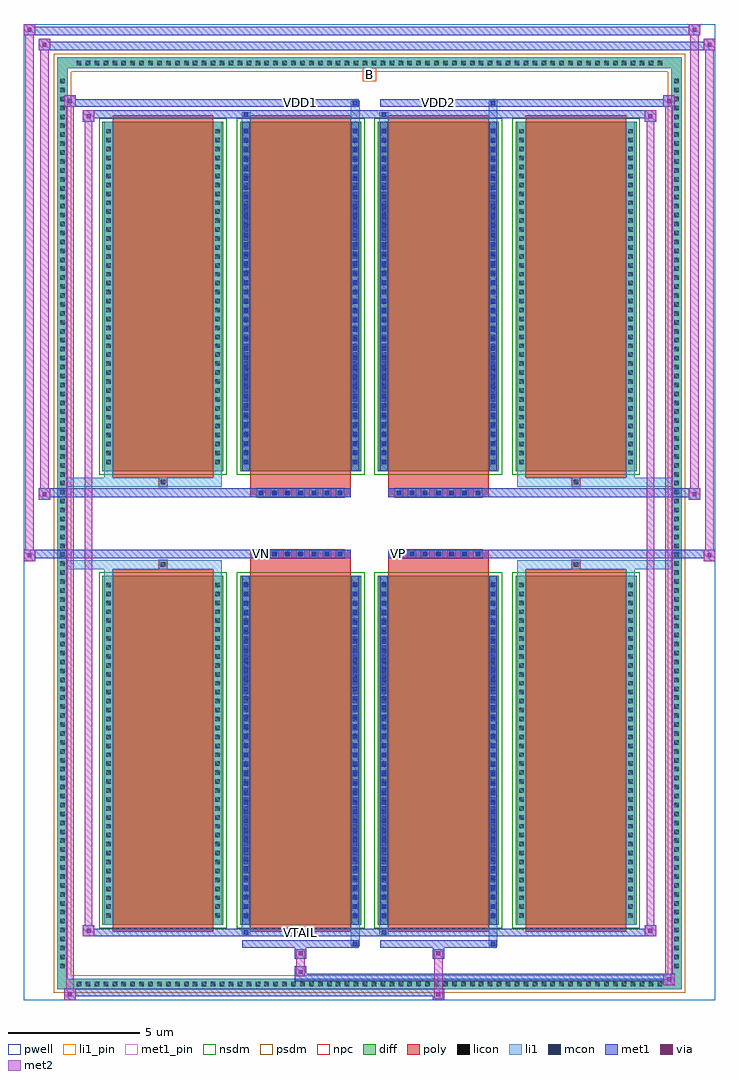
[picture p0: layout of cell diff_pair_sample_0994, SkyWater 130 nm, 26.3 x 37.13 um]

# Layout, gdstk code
import gdstk
lib = gdstk.Library(unit=1e-6, precision=5e-09)
def R(c, l, rs):  # rectangles x0, y0, x1, y1
    for r in rs: c.add(gdstk.rectangle(r[:2], r[2:], *l))
def A(c, l, x, y, w, h, nx, ny, dx, dy):  # array of equal rectangles
    R(c, l, [(x+i*dx, y+j*dy, x+i*dx+w, y+j*dy+h) for i in range(nx) for j in range(ny)])
def P(c, l, *ps):  # polygons
    for p in ps: c.add(gdstk.Polygon(p, *l))
pwell = (64, 44)
diff = (65, 20)
poly = (66, 20)
licon = (66, 44)
li1_pin = (67, 16)
li1 = (67, 20)
mcon = (67, 44)
met1_pin = (68, 16)
met1 = (68, 20)
via = (68, 44)
met2 = (69, 20)
nsdm = (93, 44)
psdm = (94, 20)
npc = (95, 20)

diff_pair_sample_0994 = lib.new_cell('diff_pair_sample_0994')
R(diff_pair_sample_0994, pwell, [(-13.15,-18.13,13.15,19), (-10.47,-16.32,-0.01,-0.8), (0.01,-16.32,10.47,-0.8), (-10.47,0.8,-0.01,16.32), (0.01,0.8,10.47,16.32)])
A(diff_pair_sample_0994, diff, -11.255, -17.73, 0.41, 0.41, 66, 2, 0.34, 35.05)
A(diff_pair_sample_0994, diff, -11.88, -17.035, 0.41, 0.41, 1, 100, 0, 0.34)
A(diff_pair_sample_0994, diff, 11.47, -17.035, 0.41, 0.41, 1, 100, 0, 0.34)
A(diff_pair_sample_0994, diff, -10.16, -15.275, 4.6, 13.29, 4, 2, 5.24, 17.26)
R(diff_pair_sample_0994, diff, [(-11.255,-17.73,11.255,-17.32), (-11.88,-17.035,-11.47,17.035), (11.47,-17.035,11.88,17.035), (-11.255,17.32,11.255,17.73)])
P(diff_pair_sample_0994, diff, [(11.88,17.73),(-11.88,17.73),(-11.88,-17.32),(-11.47,-17.32),(-11.47,17.32),(11.47,17.32),(11.47,-17.32),(-11.47,-17.32),(-11.88,-17.32),(-11.88,-17.73),(11.88,-17.73)])
A(diff_pair_sample_0994, poly, -9.77, -15.525, 3.82, 13.79, 4, 2, 5.24, 17.26)
A(diff_pair_sample_0994, poly, -4.285, -1.33, 0.33, 0.33, 7, 2, 0.5, 2.33)
A(diff_pair_sample_0994, poly, 0.955, -1.33, 0.33, 0.33, 7, 2, 0.5, 2.33)
R(diff_pair_sample_0994, poly, [(-8.025,-1.735,-7.695,-1.405), (-8.025,-1.735,-7.695,-1.405), (-4.53,-1.735,-0.71,-1.33), (0.71,-1.735,4.53,-1.33), (7.695,-1.735,8.025,-1.405), (7.695,-1.735,8.025,-1.405), (-4.53,-1.33,-0.71,-1), (0.71,-1.33,4.53,-1), (-4.53,1,-0.71,1.33), (0.71,1,4.53,1.33), (-4.53,1.33,-0.71,1.735), (0.71,1.33,4.53,1.735), (-8.025,1.405,-7.695,1.735), (-8.025,1.405,-7.695,1.735), (7.695,1.405,8.025,1.735), (7.695,1.405,8.025,1.735)])
A(diff_pair_sample_0994, licon, -11.135, -17.61, 0.17, 0.17, 66, 2, 0.34, 35.05)
A(diff_pair_sample_0994, licon, -11.76, -16.915, 0.17, 0.17, 1, 100, 0, 0.34)
A(diff_pair_sample_0994, licon, 11.59, -16.915, 0.17, 0.17, 1, 100, 0, 0.34)
A(diff_pair_sample_0994, licon, -10.02, -15.005, 0.17, 0.17, 1, 38, 0, 0.34)
A(diff_pair_sample_0994, licon, -5.87, -15.005, 0.17, 0.17, 1, 38, 0, 0.34)
A(diff_pair_sample_0994, licon, -4.78, -15.005, 0.17, 0.17, 1, 38, 0, 0.34)
A(diff_pair_sample_0994, licon, -0.63, -15.005, 0.17, 0.17, 1, 38, 0, 0.34)
A(diff_pair_sample_0994, licon, 0.46, -15.005, 0.17, 0.17, 1, 38, 0, 0.34)
A(diff_pair_sample_0994, licon, 4.61, -15.005, 0.17, 0.17, 1, 38, 0, 0.34)
A(diff_pair_sample_0994, licon, 5.7, -15.005, 0.17, 0.17, 1, 38, 0, 0.34)
A(diff_pair_sample_0994, licon, 9.85, -15.005, 0.17, 0.17, 1, 38, 0, 0.34)
A(diff_pair_sample_0994, licon, -4.205, -1.25, 0.17, 0.17, 7, 2, 0.5, 2.33)
A(diff_pair_sample_0994, licon, 1.035, -1.25, 0.17, 0.17, 7, 2, 0.5, 2.33)
A(diff_pair_sample_0994, licon, -10.02, 2.255, 0.17, 0.17, 1, 38, 0, 0.34)
A(diff_pair_sample_0994, licon, -5.87, 2.255, 0.17, 0.17, 1, 38, 0, 0.34)
A(diff_pair_sample_0994, licon, -4.78, 2.255, 0.17, 0.17, 1, 38, 0, 0.34)
A(diff_pair_sample_0994, licon, -0.63, 2.255, 0.17, 0.17, 1, 38, 0, 0.34)
A(diff_pair_sample_0994, licon, 0.46, 2.255, 0.17, 0.17, 1, 38, 0, 0.34)
A(diff_pair_sample_0994, licon, 4.61, 2.255, 0.17, 0.17, 1, 38, 0, 0.34)
A(diff_pair_sample_0994, licon, 5.7, 2.255, 0.17, 0.17, 1, 38, 0, 0.34)
A(diff_pair_sample_0994, licon, 9.85, 2.255, 0.17, 0.17, 1, 38, 0, 0.34)
R(diff_pair_sample_0994, licon, [(-7.945,-1.655,-7.775,-1.485), (7.775,-1.655,7.945,-1.485), (-7.945,1.485,-7.775,1.655), (7.775,1.485,7.945,1.655)])
R(diff_pair_sample_0994, li1_pin, [(-0.25,16.82,0.25,17.32)])
A(diff_pair_sample_0994, li1, -11.215, -17.69, 0.33, 0.33, 66, 2, 0.34, 35.05)
A(diff_pair_sample_0994, li1, -11.84, -16.995, 0.33, 0.33, 1, 100, 0, 0.34)
A(diff_pair_sample_0994, li1, 11.51, -16.995, 0.33, 0.33, 1, 100, 0, 0.34)
A(diff_pair_sample_0994, li1, -10.1, -15.085, 0.33, 0.33, 1, 38, 0, 0.34)
A(diff_pair_sample_0994, li1, -5.95, -15.085, 0.33, 0.33, 1, 38, 0, 0.34)
A(diff_pair_sample_0994, li1, -4.86, -15.085, 0.33, 0.33, 1, 38, 0, 0.34)
A(diff_pair_sample_0994, li1, -0.71, -15.085, 0.33, 0.33, 1, 38, 0, 0.34)
A(diff_pair_sample_0994, li1, 0.38, -15.085, 0.33, 0.33, 1, 38, 0, 0.34)
A(diff_pair_sample_0994, li1, 4.53, -15.085, 0.33, 0.33, 1, 38, 0, 0.34)
A(diff_pair_sample_0994, li1, 5.62, -15.085, 0.33, 0.33, 1, 38, 0, 0.34)
A(diff_pair_sample_0994, li1, 9.77, -15.085, 0.33, 0.33, 1, 38, 0, 0.34)
A(diff_pair_sample_0994, li1, -4.78, -15.015, 0.17, 0.17, 1, 36, 0, 0.36)
A(diff_pair_sample_0994, li1, -0.63, -15.015, 0.17, 0.17, 1, 36, 0, 0.36)
A(diff_pair_sample_0994, li1, 0.46, -15.015, 0.17, 0.17, 1, 36, 0, 0.36)
A(diff_pair_sample_0994, li1, 4.61, -15.015, 0.17, 0.17, 1, 36, 0, 0.36)
A(diff_pair_sample_0994, li1, -4.285, -1.33, 0.33, 0.33, 7, 2, 0.5, 2.33)
A(diff_pair_sample_0994, li1, 0.955, -1.33, 0.33, 0.33, 7, 2, 0.5, 2.33)
A(diff_pair_sample_0994, li1, -10.1, 2.175, 0.33, 0.33, 1, 38, 0, 0.34)
A(diff_pair_sample_0994, li1, -5.95, 2.175, 0.33, 0.33, 1, 38, 0, 0.34)
A(diff_pair_sample_0994, li1, -4.86, 2.175, 0.33, 0.33, 1, 38, 0, 0.34)
A(diff_pair_sample_0994, li1, -0.71, 2.175, 0.33, 0.33, 1, 38, 0, 0.34)
A(diff_pair_sample_0994, li1, 0.38, 2.175, 0.33, 0.33, 1, 38, 0, 0.34)
A(diff_pair_sample_0994, li1, 4.53, 2.175, 0.33, 0.33, 1, 38, 0, 0.34)
A(diff_pair_sample_0994, li1, 5.62, 2.175, 0.33, 0.33, 1, 38, 0, 0.34)
A(diff_pair_sample_0994, li1, 9.77, 2.175, 0.33, 0.33, 1, 38, 0, 0.34)
A(diff_pair_sample_0994, li1, -4.78, 2.245, 0.17, 0.17, 1, 36, 0, 0.36)
A(diff_pair_sample_0994, li1, -0.63, 2.245, 0.17, 0.17, 1, 36, 0, 0.36)
A(diff_pair_sample_0994, li1, 0.46, 2.245, 0.17, 0.17, 1, 36, 0, 0.36)
A(diff_pair_sample_0994, li1, 4.61, 2.245, 0.17, 0.17, 1, 36, 0, 0.36)
R(diff_pair_sample_0994, li1, [(-11.88,-17.73,-11.47,-17.32), (-11.88,-17.73,-11.47,-17.32), (-11.47,-17.73,11.47,-17.32), (11.47,-17.73,11.88,-17.32), (11.47,-17.73,11.88,-17.32), (-11.88,-17.32,-11.47,17.32), (11.47,-17.32,11.88,17.32), (-0.71,-16.08,-0.38,-15.275), (-0.63,-16.08,-0.46,-15.91), (4.53,-16.08,4.86,-15.275), (4.61,-16.08,4.78,-15.91), (-4.86,-15.65,-4.53,-15.275), (-4.78,-15.65,-4.61,-15.48), (0.38,-15.65,0.71,-15.275), (0.46,-15.65,0.63,-15.48), (-10.1,-15.275,-9.77,-1.985), (-5.95,-15.275,-5.62,-1.985), (-4.86,-15.275,-4.53,-1.985), (-0.71,-15.275,-0.38,-1.985), (0.38,-15.275,0.71,-1.985), (4.53,-15.275,4.86,-1.985), (5.62,-15.275,5.95,-1.985), (9.77,-15.275,10.1,-1.985), (-4.78,-15.015,-4.61,-2.245), (-0.63,-15.015,-0.46,-2.245), (0.46,-15.015,0.63,-2.245), (4.61,-15.015,4.78,-2.245), (-10.1,-1.985,-9.77,-1.405), (-5.95,-1.985,-5.62,-1.405), (5.62,-1.985,5.95,-1.405), (9.77,-1.985,10.1,-1.405), (-11.88,-1.735,-8.025,-1.405), (-10.1,-1.735,-8.025,-1.405), (-8.025,-1.735,-7.695,-1.405), (-7.695,-1.735,-5.62,-1.405), (5.62,-1.735,7.695,-1.405), (7.695,-1.735,8.025,-1.405), (7.695,-1.735,11.88,-1.405), (8.025,-1.735,10.1,-1.405), (-11.88,1.405,-8.025,1.735), (-10.1,1.405,-8.025,1.735), (-10.1,1.405,-9.77,1.985), (-8.025,1.405,-7.695,1.735), (-7.695,1.405,-5.62,1.735), (-5.95,1.405,-5.62,1.985), (5.62,1.405,7.695,1.735), (5.62,1.405,5.95,1.985), (7.695,1.405,8.025,1.735), (7.695,1.405,11.88,1.735), (8.025,1.405,10.1,1.735), (9.77,1.405,10.1,1.985), (-10.1,1.985,-9.77,15.275), (-5.95,1.985,-5.62,15.275), (-4.86,1.985,-4.53,15.275), (-0.71,1.985,-0.38,15.275), (0.38,1.985,0.71,15.275), (4.53,1.985,4.86,15.275), (5.62,1.985,5.95,15.275), (9.77,1.985,10.1,15.275), (-4.78,2.245,-4.61,15.015), (-0.63,2.245,-0.46,15.015), (0.46,2.245,0.63,15.015), (4.61,2.245,4.78,15.015), (-4.86,15.275,-4.53,15.65), (-0.71,15.275,-0.38,16.08), (0.38,15.275,0.71,15.65), (4.53,15.275,4.86,16.08), (-4.78,15.48,-4.61,15.65), (0.46,15.48,0.63,15.65), (-0.63,15.91,-0.46,16.08), (4.61,15.91,4.78,16.08), (-11.88,17.32,-11.47,17.73), (-11.88,17.32,-11.47,17.73), (-11.47,17.32,11.47,17.73), (11.47,17.32,11.88,17.73), (11.47,17.32,11.88,17.73)])
A(diff_pair_sample_0994, mcon, -4.78, -15.015, 0.17, 0.17, 1, 36, 0, 0.36)
A(diff_pair_sample_0994, mcon, -0.63, -15.015, 0.17, 0.17, 1, 36, 0, 0.36)
A(diff_pair_sample_0994, mcon, 0.46, -15.015, 0.17, 0.17, 1, 36, 0, 0.36)
A(diff_pair_sample_0994, mcon, 4.61, -15.015, 0.17, 0.17, 1, 36, 0, 0.36)
A(diff_pair_sample_0994, mcon, -4.205, -1.25, 0.17, 0.17, 7, 2, 0.5, 2.33)
A(diff_pair_sample_0994, mcon, 1.035, -1.25, 0.17, 0.17, 7, 2, 0.5, 2.33)
A(diff_pair_sample_0994, mcon, -4.78, 2.245, 0.17, 0.17, 1, 36, 0, 0.36)
A(diff_pair_sample_0994, mcon, -0.63, 2.245, 0.17, 0.17, 1, 36, 0, 0.36)
A(diff_pair_sample_0994, mcon, 0.46, 2.245, 0.17, 0.17, 1, 36, 0, 0.36)
A(diff_pair_sample_0994, mcon, 4.61, 2.245, 0.17, 0.17, 1, 36, 0, 0.36)
R(diff_pair_sample_0994, mcon, [(-0.63,-16.08,-0.46,-15.91), (4.61,-16.08,4.78,-15.91), (-4.78,-15.65,-4.61,-15.48), (0.46,-15.65,0.63,-15.48), (-4.78,15.48,-4.61,15.65), (0.46,15.48,0.63,15.65), (-0.63,15.91,-0.46,16.08), (4.61,15.91,4.78,16.08)])
R(diff_pair_sample_0994, met1_pin, [(-2.755,-15.69,-2.485,-15.42), (-4.255,-1.29,-3.985,-1.02), (0.985,-1.29,1.255,-1.02), (-2.755,15.87,-2.485,16.14), (2.485,15.87,2.755,16.14)])
A(diff_pair_sample_0994, met1, -4.84, -15.075, 0.29, 0.29, 1, 36, 0, 0.36)
A(diff_pair_sample_0994, met1, -0.69, -15.075, 0.29, 0.29, 1, 36, 0, 0.36)
A(diff_pair_sample_0994, met1, 0.4, -15.075, 0.29, 0.29, 1, 36, 0, 0.36)
A(diff_pair_sample_0994, met1, 4.55, -15.075, 0.29, 0.29, 1, 36, 0, 0.36)
A(diff_pair_sample_0994, met1, -4.265, -1.31, 0.29, 0.29, 7, 2, 0.5, 2.33)
A(diff_pair_sample_0994, met1, 0.975, -1.31, 0.29, 0.29, 7, 2, 0.5, 2.33)
A(diff_pair_sample_0994, met1, -4.84, 2.185, 0.29, 0.29, 1, 36, 0, 0.36)
A(diff_pair_sample_0994, met1, -0.69, 2.185, 0.29, 0.29, 1, 36, 0, 0.36)
A(diff_pair_sample_0994, met1, 0.4, 2.185, 0.29, 0.29, 1, 36, 0, 0.36)
A(diff_pair_sample_0994, met1, 4.55, 2.185, 0.29, 0.29, 1, 36, 0, 0.36)
R(diff_pair_sample_0994, met1, [(-11.61,-18.13,-11.18,-17.7), (2.405,-18.13,2.835,-17.7), (-11.61,-17.99,2.835,-17.7), (11.18,-17.56,11.61,-17.13), (-2.835,-17.42,11.61,-17.13), (-2.835,-17.28,-2.405,-16.85), (-2.835,-16.57,-2.405,-16.14), (2.405,-16.57,2.835,-16.14), (-4.84,-16.14,-0.4,-15.85), (-0.69,-16.14,-0.4,-15.85), (0.4,-16.14,4.84,-15.85), (4.55,-16.14,4.84,-15.85), (-10.9,-15.71,-10.47,-15.28), (-10.9,-15.71,-4.84,-15.42), (-4.84,-15.71,-4.55,-15.42), (-4.84,-15.71,-0.4,-15.42), (-0.4,-15.71,0.4,-15.42), (0.4,-15.71,0.69,-15.42), (0.4,-15.71,4.84,-15.42), (4.84,-15.71,10.9,-15.42), (10.47,-15.71,10.9,-15.28), (-4.84,-15.275,-4.55,-1.985), (-0.69,-15.275,-0.4,-1.985), (0.4,-15.275,0.69,-1.985), (4.55,-15.275,4.84,-1.985), (-13.15,-1.43,-12.72,-1), (12.72,-1.43,13.15,-1), (-13.15,-1.33,-0.71,-1), (-4.53,-1.33,-0.71,-1), (0.71,-1.33,4.53,-1), (0.71,-1.33,13.15,-1), (-12.58,0.9,-12.15,1.33), (12.15,0.9,12.58,1.33), (-12.58,1,-4.53,1.33), (-4.53,1,-0.71,1.33), (0.71,1,4.53,1.33), (4.53,1,12.58,1.33), (-4.84,1.985,-4.55,15.275), (-0.69,1.985,-0.4,15.275), (0.4,1.985,0.69,15.275), (4.55,1.985,4.84,15.275), (-10.9,15.28,-10.47,15.71), (10.47,15.28,10.9,15.71), (-10.9,15.42,-4.84,15.71), (-4.84,15.42,-4.55,15.71), (-4.84,15.42,-0.4,15.71), (-0.4,15.42,0.4,15.71), (0.4,15.42,0.69,15.71), (0.4,15.42,4.84,15.71), (4.84,15.42,10.9,15.71), (-11.61,15.85,-11.18,16.28), (-11.61,15.85,-4.84,16.14), (-4.84,15.85,-0.4,16.14), (-0.69,15.85,-0.4,16.14), (0.4,15.85,4.84,16.14), (4.55,15.85,4.84,16.14), (4.84,15.85,11.61,16.14), (11.18,15.85,11.61,16.28), (-12.58,18,-12.15,18.43), (-12.58,18,-10.47,18.33), (-10.47,18,10.47,18.33), (10.47,18,13.15,18.33), (12.72,18,13.15,18.43), (-13.15,18.57,-12.72,19), (-13.15,18.57,-10.47,18.9), (-10.47,18.57,10.47,18.9), (10.47,18.57,12.58,18.9), (12.15,18.57,12.58,19)])
R(diff_pair_sample_0994, via, [(-11.47,-17.99,-11.32,-17.84), (2.545,-17.99,2.695,-17.84), (11.32,-17.42,11.47,-17.27), (-2.695,-17.14,-2.545,-16.99), (-2.695,-16.43,-2.545,-16.28), (2.545,-16.43,2.695,-16.28), (-10.76,-15.57,-10.61,-15.42), (10.61,-15.57,10.76,-15.42), (-13.01,-1.29,-12.86,-1.14), (12.86,-1.29,13.01,-1.14), (-12.44,1.04,-12.29,1.19), (12.29,1.04,12.44,1.19), (-10.76,15.42,-10.61,15.57), (10.61,15.42,10.76,15.57), (-11.47,15.99,-11.32,16.14), (11.32,15.99,11.47,16.14), (-12.44,18.14,-12.29,18.29), (12.86,18.14,13.01,18.29), (-13.01,18.71,-12.86,18.86), (12.29,18.71,12.44,18.86)])
R(diff_pair_sample_0994, met2, [(-11.61,-18.13,-11.18,-17.7), (-11.54,-18.13,-11.25,16.28), (-11.25,-18.13,-11.18,-17.7), (-11.56,-18.08,-11.23,-17.75), (2.455,-18.08,2.785,-17.75), (2.455,-17.75,2.785,-16.52), (11.18,-17.56,11.61,-17.13), (11.25,-17.56,11.54,16.28), (11.54,-17.56,11.61,-17.13), (11.23,-17.51,11.56,-17.18), (-2.785,-17.23,-2.455,-16.9), (-2.785,-16.9,-2.455,-16.52), (-2.785,-16.52,-2.455,-16.19), (2.455,-16.52,2.785,-16.19), (-10.9,-15.71,-10.47,-15.28), (-10.83,-15.71,-10.54,15.71), (-10.54,-15.71,-10.47,-15.28), (10.47,-15.71,10.9,-15.28), (10.54,-15.71,10.83,15.71), (10.83,-15.71,10.9,-15.28), (-10.85,-15.66,-10.52,-15.33), (10.52,-15.66,10.85,-15.33), (-13.15,-1.43,-12.72,-1), (-13.1,-1.43,-12.77,19), (-12.77,-1.43,-12.72,-1), (12.72,-1.43,13.15,-1), (12.77,-1.43,13.1,18.43), (13.1,-1.43,13.15,-1), (-13.1,-1.38,-12.77,-1.05), (12.77,-1.38,13.1,-1.05), (-12.58,0.9,-12.15,1.33), (-12.53,0.9,-12.2,18.43), (-12.2,0.9,-12.15,1.33), (12.15,0.9,12.58,1.33), (12.2,0.9,12.53,19), (12.53,0.9,12.58,1.33), (-12.53,0.95,-12.2,1.28), (12.2,0.95,12.53,1.28), (-10.9,15.28,-10.47,15.71), (-10.54,15.28,-10.47,15.71), (10.47,15.28,10.9,15.71), (10.83,15.28,10.9,15.71), (-10.85,15.33,-10.52,15.66), (10.52,15.33,10.85,15.66), (-11.61,15.85,-11.18,16.28), (-11.25,15.85,-11.18,16.28), (11.18,15.85,11.61,16.28), (11.54,15.85,11.61,16.28), (-11.56,15.9,-11.23,16.23), (11.23,15.9,11.56,16.23), (-12.58,18,-12.15,18.43), (-12.2,18,-12.15,18.43), (12.72,18,13.15,18.43), (13.1,18,13.15,18.43), (-12.53,18.05,-12.2,18.38), (12.77,18.05,13.1,18.38), (-13.15,18.57,-12.72,19), (-12.77,18.57,-12.72,19), (12.15,18.57,12.58,19), (12.53,18.57,12.58,19), (-13.1,18.62,-12.77,18.95), (12.2,18.62,12.53,18.95)])
A(diff_pair_sample_0994, nsdm, -10.29, -15.405, 4.86, 13.55, 4, 2, 5.24, 17.26)
P(diff_pair_sample_0994, psdm, [(12.01,17.86),(-12.01,17.86),(-12.01,-17.19),(-11.34,-17.19),(-11.34,17.19),(11.34,17.19),(11.34,-17.19),(-11.34,-17.19),(-12.01,-17.19),(-12.01,-17.86),(12.01,-17.86)])
A(diff_pair_sample_0994, npc, -4.305, -1.35, 0.37, 0.37, 7, 2, 0.5, 2.33)
A(diff_pair_sample_0994, npc, 0.935, -1.35, 0.37, 0.37, 7, 2, 0.5, 2.33)
R(diff_pair_sample_0994, npc, [(-8.045,-1.755,-7.675,-1.385), (7.675,-1.755,8.045,-1.385), (-4.305,-1.35,-3.435,-0.98), (-4.305,-1.35,-3.435,-0.98), (-3.805,-1.35,-2.935,-0.98), (-3.805,-1.35,-2.935,-0.98), (-3.305,-1.35,-2.435,-0.98), (-3.305,-1.35,-2.435,-0.98), (-2.805,-1.35,-1.935,-0.98), (-2.805,-1.35,-1.935,-0.98), (-2.305,-1.35,-1.435,-0.98), (-2.305,-1.35,-1.435,-0.98), (-1.805,-1.35,-0.935,-0.98), (-1.805,-1.35,-0.935,-0.98), (0.935,-1.35,1.805,-0.98), (0.935,-1.35,1.805,-0.98), (1.435,-1.35,2.305,-0.98), (1.435,-1.35,2.305,-0.98), (1.935,-1.35,2.805,-0.98), (1.935,-1.35,2.805,-0.98), (2.435,-1.35,3.305,-0.98), (2.435,-1.35,3.305,-0.98), (2.935,-1.35,3.805,-0.98), (2.935,-1.35,3.805,-0.98), (3.435,-1.35,4.305,-0.98), (3.435,-1.35,4.305,-0.98), (-4.305,0.98,-3.435,1.35), (-4.305,0.98,-3.435,1.35), (-3.805,0.98,-2.935,1.35), (-3.805,0.98,-2.935,1.35), (-3.305,0.98,-2.435,1.35), (-3.305,0.98,-2.435,1.35), (-2.805,0.98,-1.935,1.35), (-2.805,0.98,-1.935,1.35), (-2.305,0.98,-1.435,1.35), (-2.305,0.98,-1.435,1.35), (-1.805,0.98,-0.935,1.35), (-1.805,0.98,-0.935,1.35), (0.935,0.98,1.805,1.35), (0.935,0.98,1.805,1.35), (1.435,0.98,2.305,1.35), (1.435,0.98,2.305,1.35), (1.935,0.98,2.805,1.35), (1.935,0.98,2.805,1.35), (2.435,0.98,3.305,1.35), (2.435,0.98,3.305,1.35), (2.935,0.98,3.805,1.35), (2.935,0.98,3.805,1.35), (3.435,0.98,4.305,1.35), (3.435,0.98,4.305,1.35), (-8.045,1.385,-7.675,1.755), (7.675,1.385,8.045,1.755)])
diff_pair_sample_0994.add(gdstk.Label('VTAIL', (-2.62,-15.555), layer=68, texttype=5))
diff_pair_sample_0994.add(gdstk.Label('VN', (-4.12,-1.155), layer=68, texttype=5))
diff_pair_sample_0994.add(gdstk.Label('VP', (1.12,-1.155), layer=68, texttype=5))
diff_pair_sample_0994.add(gdstk.Label('B', (0,17.07), layer=67, texttype=5))
diff_pair_sample_0994.add(gdstk.Label('VDD2', (2.62,16.005), layer=68, texttype=5))
diff_pair_sample_0994.add(gdstk.Label('VDD1', (-2.62,16.005), layer=68, texttype=5))

lib.write_gds('diff_pair_sample_0994.gds')
